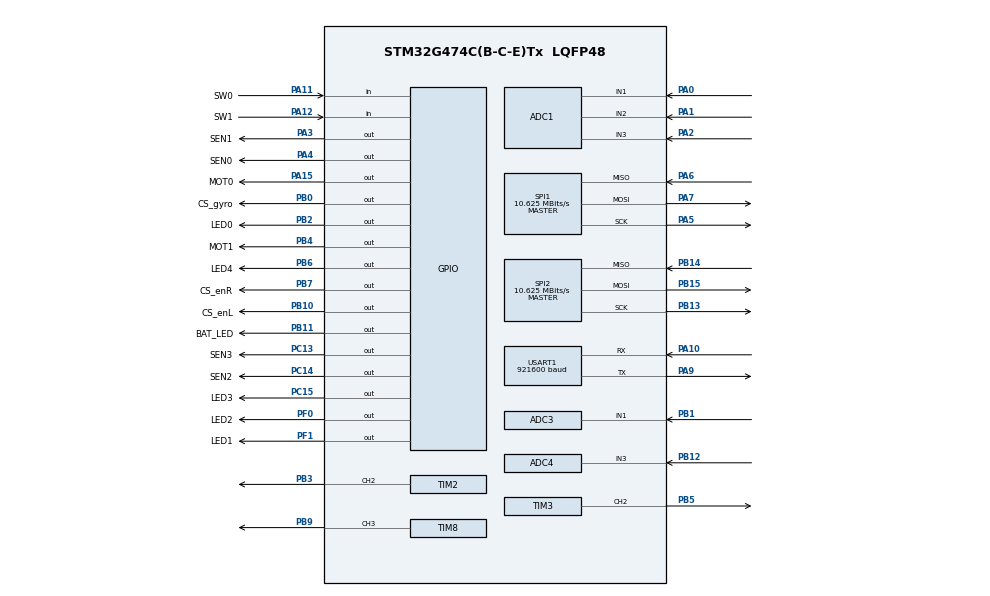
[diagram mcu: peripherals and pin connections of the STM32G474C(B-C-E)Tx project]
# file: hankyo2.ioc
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ADC1.Channel-15\#ChannelRegularConversion=ADC_CHANNEL_2
ADC1.Channel-16\#ChannelRegularConversion=ADC_CHANNEL_2
ADC1.Channel-17\#ChannelRegularConversion=ADC_CHANNEL_3
ADC1.Channel-18\#ChannelRegularConversion=ADC_CHANNEL_3
ADC1.Channel-19\#ChannelRegularConversion=ADC_CHANNEL_1
ADC1.Channel-20\#ChannelRegularConversion=ADC_CHANNEL_1
ADC1.ClockPrescaler=ADC_CLOCK_ASYNC_DIV8
ADC1.DiscontinuousConvMode=ENABLE
ADC1.NbrOfConversion=6
ADC1.NbrOfConversionFlag=1
ADC1.OffsetNumber-15\#ChannelRegularConversion=ADC_OFFSET_NONE
ADC1.OffsetNumber-16\#ChannelRegularConversion=ADC_OFFSET_NONE
ADC1.OffsetNumber-17\#ChannelRegularConversion=ADC_OFFSET_NONE
ADC1.OffsetNumber-18\#ChannelRegularConversion=ADC_OFFSET_NONE
ADC1.OffsetNumber-19\#ChannelRegularConversion=ADC_OFFSET_NONE
ADC1.OffsetNumber-20\#ChannelRegularConversion=ADC_OFFSET_NONE
ADC1.OversamplingMode=DISABLE
ADC1.Rank-15\#ChannelRegularConversion=1
ADC1.Rank-16\#ChannelRegularConversion=2
ADC1.Rank-17\#ChannelRegularConversion=3
ADC1.Rank-18\#ChannelRegularConversion=4
ADC1.Rank-19\#ChannelRegularConversion=5
ADC1.Rank-20\#ChannelRegularConversion=6
ADC1.SamplingTime-15\#ChannelRegularConversion=ADC_SAMPLETIME_12CYCLES_5
ADC1.SamplingTime-16\#ChannelRegularConversion=ADC_SAMPLETIME_12CYCLES_5
ADC1.SamplingTime-17\#ChannelRegularConversion=ADC_SAMPLETIME_12CYCLES_5
ADC1.SamplingTime-18\#ChannelRegularConversion=ADC_SAMPLETIME_12CYCLES_5
ADC1.SamplingTime-19\#ChannelRegularConversion=ADC_SAMPLETIME_12CYCLES_5
ADC1.SamplingTime-20\#ChannelRegularConversion=ADC_SAMPLETIME_12CYCLES_5
ADC1.master=1
ADC3.Channel-0\#ChannelRegularConversion=ADC_CHANNEL_1
ADC3.Channel-3\#ChannelRegularConversion=ADC_CHANNEL_1
ADC3.ClockPrescaler=ADC_CLOCK_ASYNC_DIV8
ADC3.DiscontinuousConvMode=ENABLE
ADC3.NbrOfConversion=2
ADC3.NbrOfConversionFlag=1
ADC3.OffsetNumber-0\#ChannelRegularConversion=ADC_OFFSET_NONE
ADC3.OffsetNumber-3\#ChannelRegularConversion=ADC_OFFSET_NONE
ADC3.Rank-0\#ChannelRegularConversion=1
ADC3.Rank-3\#ChannelRegularConversion=2
ADC3.SamplingTime-0\#ChannelRegularConversion=ADC_SAMPLETIME_12CYCLES_5
ADC3.SamplingTime-3\#ChannelRegularConversion=ADC_SAMPLETIME_12CYCLES_5
ADC3.master=1
ADC4.Channel-0\#ChannelRegularConversion=ADC_CHANNEL_3
ADC4.ClockPrescaler=ADC_CLOCK_ASYNC_DIV8
ADC4.DMAContinuousRequests=DISABLE
ADC4.ExternalTrigConv=ADC_SOFTWARE_START
ADC4.NbrOfConversionFlag=1
ADC4.OffsetNumber-0\#ChannelRegularConversion=ADC_OFFSET_NONE
ADC4.Rank-0\#ChannelRegularConversion=1
ADC4.SamplingTime-0\#ChannelRegularConversion=ADC_SAMPLETIME_24CYCLES_5
Dma.Request0=SPI1_RX
Dma.Request1=SPI1_TX
Dma.Request2=SPI2_RX
Dma.Request3=SPI2_TX
Dma.Request4=USART1_RX
Dma.Request5=USART1_TX
Dma.SPI1_RX.0.Direction=DMA_PERIPH_TO_MEMORY
Dma.SPI1_RX.0.EventEnable=DISABLE
Dma.SPI1_RX.0.Instance=DMA1_Channel1
Dma.SPI1_RX.0.MemDataAlignment=DMA_MDATAALIGN_BYTE
Dma.SPI1_RX.0.MemInc=DMA_MINC_ENABLE
Dma.SPI1_RX.0.Mode=DMA_NORMAL
Dma.SPI1_RX.0.PeriphDataAlignment=DMA_PDATAALIGN_BYTE
Dma.SPI1_RX.0.PeriphInc=DMA_PINC_DISABLE
Dma.SPI1_RX.0.Polarity=HAL_DMAMUX_REQ_GEN_RISING
Dma.SPI1_RX.0.Priority=DMA_PRIORITY_LOW
Dma.SPI1_RX.0.RequestNumber=1
Dma.SPI1_RX.0.SignalID=NONE
Dma.SPI1_RX.0.SyncEnable=DISABLE
Dma.SPI1_RX.0.SyncPolarity=HAL_DMAMUX_SYNC_NO_EVENT
Dma.SPI1_RX.0.SyncRequestNumber=1
Dma.SPI1_RX.0.SyncSignalID=NONE
Dma.SPI1_TX.1.Direction=DMA_MEMORY_TO_PERIPH
Dma.SPI1_TX.1.EventEnable=DISABLE
Dma.SPI1_TX.1.Instance=DMA1_Channel2
Dma.SPI1_TX.1.MemDataAlignment=DMA_MDATAALIGN_BYTE
Dma.SPI1_TX.1.MemInc=DMA_MINC_ENABLE
Dma.SPI1_TX.1.Mode=DMA_NORMAL
Dma.SPI1_TX.1.PeriphDataAlignment=DMA_PDATAALIGN_BYTE
Dma.SPI1_TX.1.PeriphInc=DMA_PINC_DISABLE
Dma.SPI1_TX.1.Polarity=HAL_DMAMUX_REQ_GEN_RISING
Dma.SPI1_TX.1.Priority=DMA_PRIORITY_LOW
Dma.SPI1_TX.1.RequestNumber=1
Dma.SPI1_TX.1.SignalID=NONE
Dma.SPI1_TX.1.SyncEnable=DISABLE
Dma.SPI1_TX.1.SyncPolarity=HAL_DMAMUX_SYNC_NO_EVENT
Dma.SPI1_TX.1.SyncRequestNumber=1
Dma.SPI1_TX.1.SyncSignalID=NONE
Dma.SPI2_RX.2.Direction=DMA_PERIPH_TO_MEMORY
Dma.SPI2_RX.2.EventEnable=DISABLE
Dma.SPI2_RX.2.Instance=DMA1_Channel3
Dma.SPI2_RX.2.MemDataAlignment=DMA_MDATAALIGN_BYTE
Dma.SPI2_RX.2.MemInc=DMA_MINC_ENABLE
Dma.SPI2_RX.2.Mode=DMA_NORMAL
Dma.SPI2_RX.2.PeriphDataAlignment=DMA_PDATAALIGN_BYTE
Dma.SPI2_RX.2.PeriphInc=DMA_PINC_DISABLE
Dma.SPI2_RX.2.Polarity=HAL_DMAMUX_REQ_GEN_RISING
Dma.SPI2_RX.2.Priority=DMA_PRIORITY_LOW
Dma.SPI2_RX.2.RequestNumber=1
Dma.SPI2_RX.2.SignalID=NONE
Dma.SPI2_RX.2.SyncEnable=DISABLE
Dma.SPI2_RX.2.SyncPolarity=HAL_DMAMUX_SYNC_NO_EVENT
Dma.SPI2_RX.2.SyncRequestNumber=1
Dma.SPI2_RX.2.SyncSignalID=NONE
Dma.SPI2_TX.3.Direction=DMA_MEMORY_TO_PERIPH
Dma.SPI2_TX.3.EventEnable=DISABLE
Dma.SPI2_TX.3.Instance=DMA1_Channel4
Dma.SPI2_TX.3.MemDataAlignment=DMA_MDATAALIGN_BYTE
Dma.SPI2_TX.3.MemInc=DMA_MINC_ENABLE
Dma.SPI2_TX.3.Mode=DMA_NORMAL
Dma.SPI2_TX.3.PeriphDataAlignment=DMA_PDATAALIGN_BYTE
Dma.SPI2_TX.3.PeriphInc=DMA_PINC_DISABLE
Dma.SPI2_TX.3.Polarity=HAL_DMAMUX_REQ_GEN_RISING
Dma.SPI2_TX.3.Priority=DMA_PRIORITY_LOW
Dma.SPI2_TX.3.RequestNumber=1
Dma.SPI2_TX.3.SignalID=NONE
Dma.SPI2_TX.3.SyncEnable=DISABLE
Dma.SPI2_TX.3.SyncPolarity=HAL_DMAMUX_SYNC_NO_EVENT
Dma.SPI2_TX.3.SyncRequestNumber=1
Dma.SPI2_TX.3.SyncSignalID=NONE
Dma.USART1_RX.4.Direction=DMA_PERIPH_TO_MEMORY
Dma.USART1_RX.4.EventEnable=DISABLE
Dma.USART1_RX.4.Instance=DMA1_Channel5
Dma.USART1_RX.4.MemDataAlignment=DMA_MDATAALIGN_BYTE
Dma.USART1_RX.4.MemInc=DMA_MINC_ENABLE
Dma.USART1_RX.4.Mode=DMA_NORMAL
Dma.USART1_RX.4.PeriphDataAlignment=DMA_PDATAALIGN_BYTE
Dma.USART1_RX.4.PeriphInc=DMA_PINC_DISABLE
Dma.USART1_RX.4.Polarity=HAL_DMAMUX_REQ_GEN_RISING
Dma.USART1_RX.4.Priority=DMA_PRIORITY_LOW
Dma.USART1_RX.4.RequestNumber=1
Dma.USART1_RX.4.SignalID=NONE
Dma.USART1_RX.4.SyncEnable=DISABLE
Dma.USART1_RX.4.SyncPolarity=HAL_DMAMUX_SYNC_NO_EVENT
Dma.USART1_RX.4.SyncRequestNumber=1
Dma.USART1_RX.4.SyncSignalID=NONE
Dma.USART1_TX.5.Direction=DMA_MEMORY_TO_PERIPH
Dma.USART1_TX.5.EventEnable=DISABLE
Dma.USART1_TX.5.Instance=DMA1_Channel6
Dma.USART1_TX.5.MemDataAlignment=DMA_MDATAALIGN_BYTE
Dma.USART1_TX.5.MemInc=DMA_MINC_ENABLE
Dma.USART1_TX.5.Mode=DMA_NORMAL
Dma.USART1_TX.5.PeriphDataAlignment=DMA_PDATAALIGN_BYTE
Dma.USART1_TX.5.PeriphInc=DMA_PINC_DISABLE
Dma.USART1_TX.5.Polarity=HAL_DMAMUX_REQ_GEN_RISING
Dma.USART1_TX.5.Priority=DMA_PRIORITY_LOW
Dma.USART1_TX.5.RequestNumber=1
Dma.USART1_TX.5.SignalID=NONE
Dma.USART1_TX.5.SyncEnable=DISABLE
Dma.USART1_TX.5.SyncPolarity=HAL_DMAMUX_SYNC_NO_EVENT
Dma.USART1_TX.5.SyncRequestNumber=1
Dma.USART1_TX.5.SyncSignalID=NONE
Mcu.Family=STM32G4
Mcu.Name=STM32G474C(B-C-E)Tx
Mcu.Package=LQFP48
NVIC.DMA1_Channel1_IRQn=true\:0\:0\:false\:false\:true\:false\:true\:true
NVIC.DMA1_Channel2_IRQn=true\:0\:0\:false\:false\:true\:false\:true\:true
NVIC.DMA1_Channel3_IRQn=true\:0\:0\:false\:false\:true\:false\:true\:true
NVIC.DMA1_Channel4_IRQn=true\:0\:0\:false\:false\:true\:false\:true\:true
NVIC.DMA1_Channel5_IRQn=true\:0\:0\:false\:false\:true\:false\:true\:true
NVIC.DMA1_Channel6_IRQn=true\:0\:0\:false\:false\:true\:false\:true\:true
NVIC.PriorityGroup=NVIC_PRIORITYGROUP_4
NVIC.TIM1_UP_TIM16_IRQn=true\:0\:0\:false\:false\:true\:true\:true\:true
NVIC.TIM4_IRQn=true\:0\:0\:false\:false\:true\:true\:true\:true
NVIC.TIM5_IRQn=true\:0\:0\:false\:false\:true\:true\:true\:true
NVIC.TIM6_DAC_IRQn=true\:0\:0\:false\:false\:true\:true\:true\:true
PA0.Mode=IN1-Single-Ended
PA0.Signal=ADC1_IN1
PA1.Mode=IN2-Single-Ended
PA1.Signal=ADC1_IN2
PA10.Mode=Asynchronous
PA10.Signal=USART1_RX
PA11.GPIO_Label=SW0
PA11.GPIO_PuPd=GPIO_PULLDOWN
PA11.Signal=GPIO_Input
PA12.GPIO_Label=SW1
PA12.GPIO_PuPd=GPIO_PULLDOWN
PA12.Signal=GPIO_Input
PA13.Mode=Serial_Wire
PA13.Signal=SYS_JTMS-SWDIO
PA14.Mode=Serial_Wire
PA14.Signal=SYS_JTCK-SWCLK
PA15.GPIO_Label=MOT0
PA15.Signal=GPIO_Output
PA2.Mode=IN3-Single-Ended
PA2.Signal=ADC1_IN3
PA3.GPIO_Label=SEN1
PA3.Signal=GPIO_Output
PA4.GPIO_Label=SEN0
PA4.Signal=GPIO_Output
PA5.Mode=Full_Duplex_Master
PA5.Signal=SPI1_SCK
PA6.Mode=Full_Duplex_Master
PA6.Signal=SPI1_MISO
PA7.Mode=Full_Duplex_Master
PA7.Signal=SPI1_MOSI
PA9.Mode=Asynchronous
PA9.Signal=USART1_TX
PB0.GPIO_Label=CS_gyro
PB0.PinState=GPIO_PIN_SET
PB0.Signal=GPIO_Output
PB1.Mode=IN1-Single-Ended
PB1.Signal=ADC3_IN1
PB10.GPIO_Label=CS_enL
PB10.PinState=GPIO_PIN_SET
PB10.Signal=GPIO_Output
PB11.GPIO_Label=BAT_LED
PB11.Signal=GPIO_Output
PB12.Mode=IN3-Single-Ended
PB12.Signal=ADC4_IN3
PB13.Mode=Full_Duplex_Master
PB13.Signal=SPI2_SCK
PB14.Mode=Full_Duplex_Master
PB14.Signal=SPI2_MISO
PB15.Mode=Full_Duplex_Master
PB15.Signal=SPI2_MOSI
PB2.GPIO_Label=LED0
PB2.Signal=GPIO_Output
PB3.Signal=S_TIM2_CH2
PB4.GPIO_Label=MOT1
PB4.Signal=GPIO_Output
PB5.Signal=S_TIM3_CH2
PB6.GPIO_Label=LED4
PB6.Signal=GPIO_Output
PB7.GPIO_Label=CS_enR
PB7.PinState=GPIO_PIN_SET
PB7.Signal=GPIO_Output
PB9.Signal=S_TIM8_CH3
PC13.GPIO_Label=SEN3
PC13.Signal=GPIO_Output
PC14-OSC32_IN.GPIO_Label=SEN2
PC14-OSC32_IN.Signal=GPIO_Output
PC15-OSC32_OUT.GPIO_Label=LED3
PC15-OSC32_OUT.Signal=GPIO_Output
PF0-OSC_IN.GPIO_Label=LED2
PF0-OSC_IN.Signal=GPIO_Output
PF1-OSC_OUT.GPIO_Label=LED1
PF1-OSC_OUT.Signal=GPIO_Output
ProjectManager.HeapSize=0x200
ProjectManager.StackSize=0x400
ProjectManager.TargetToolchain=STM32CubeIDE
RCC.ADC12CLockSelection=RCC_ADC12CLKSOURCE_PLL
RCC.ADC12Freq_Value=85000000
RCC.ADC345CLockSelection=RCC_ADC345CLKSOURCE_PLL
RCC.ADC345Freq_Value=85000000
RCC.AHBFreq_Value=170000000
RCC.APB1Freq_Value=170000000
RCC.APB1TimFreq_Value=170000000
RCC.APB2Freq_Value=170000000
RCC.APB2TimFreq_Value=170000000
RCC.CortexFreq_Value=170000000
RCC.EXTERNAL_CLOCK_VALUE=12288000
RCC.HCLKFreq_Value=170000000
RCC.HSE_VALUE=8000000
RCC.HSI48_VALUE=48000000
RCC.HSI_VALUE=16000000
RCC.LSE_VALUE=32768
RCC.PLLM=RCC_PLLM_DIV4
RCC.PLLN=85
RCC.PLLP=RCC_PLLP_DIV4
RCC.SYSCLKFreq_VALUE=170000000
RCC.SYSCLKSource=RCC_SYSCLKSOURCE_PLLCLK
RCC.USBFreq_Value=170000000
RCC.VCOOutputFreq_Value=340000000
SH.S_TIM2_CH2.0=TIM2_CH2,PWM Generation2 CH2
SH.S_TIM3_CH2.0=TIM3_CH2,PWM Generation2 CH2
SH.S_TIM8_CH3.0=TIM8_CH3,PWM Generation3 CH3
SPI1.BaudRatePrescaler=SPI_BAUDRATEPRESCALER_16
SPI1.CLKPhase=SPI_PHASE_2EDGE
SPI1.CLKPolarity=SPI_POLARITY_HIGH
SPI1.CalculateBaudRate=10.625 MBits/s
SPI1.DataSize=SPI_DATASIZE_8BIT
SPI1.Direction=SPI_DIRECTION_2LINES
SPI1.Mode=SPI_MODE_MASTER
SPI1.VirtualType=VM_MASTER
SPI2.BaudRatePrescaler=SPI_BAUDRATEPRESCALER_16
SPI2.CLKPhase=SPI_PHASE_2EDGE
SPI2.CLKPolarity=SPI_POLARITY_HIGH
SPI2.CalculateBaudRate=10.625 MBits/s
SPI2.DataSize=SPI_DATASIZE_8BIT
SPI2.Direction=SPI_DIRECTION_2LINES
SPI2.Mode=SPI_MODE_MASTER
SPI2.VirtualType=VM_MASTER
TIM1.PeriodNoDither=999
TIM1.Prescaler=169
TIM2.AutoReloadPreload=TIM_AUTORELOAD_PRELOAD_ENABLE
TIM2.Channel-PWM\ Generation2\ CH2=TIM_CHANNEL_2
TIM2.PeriodNoDither=849
TIM2.Prescaler=1
TIM3.AutoReloadPreload=TIM_AUTORELOAD_PRELOAD_ENABLE
TIM3.Channel-PWM\ Generation2\ CH2=TIM_CHANNEL_2
TIM3.PeriodNoDither=849
TIM3.Prescaler=1
TIM4.PeriodNoDither=249
TIM4.Prescaler=169
TIM5.PeriodNoDither=249
TIM5.Prescaler=169
TIM6.PeriodNoDither=9999
TIM6.Prescaler=169
TIM8.Channel-PWM\ Generation3\ CH3=TIM_CHANNEL_3
TIM8.PeriodNoDither=849
TIM8.Prescaler=1
USART1.BaudRate=921600
USART1.VirtualMode-Asynchronous=VM_ASYNC
VP_SYS_VS_DBSignals.Mode=DisableDeadBatterySignals
VP_TIM1_VS_ClockSourceINT.Mode=Internal
VP_TIM4_VS_ClockSourceINT.Mode=Internal
VP_TIM5_VS_ClockSourceINT.Mode=Internal
VP_TIM6_VS_ClockSourceINT.Mode=Enable_Timer
board=custom

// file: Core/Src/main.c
/* USER CODE BEGIN Header */
/**
  ******************************************************************************
  * @file           : main.c
  * @brief          : Main program body
  ******************************************************************************
  * @attention
  *
  * <h2><center>&copy; Copyright (c) 2021 STMicroelectronics.
  * All rights reserved.</center></h2>
  *
  * This software component is licensed by ST under BSD 3-Clause license,
  * the "License"; You may not use this file except in compliance with the
  * License. You may obtain a copy of the License at:
  *                        opensource.org/licenses/BSD-3-Clause
  *
  ******************************************************************************
  */
/* USER CODE END Header */
#include "main.h"
#include "adc.h"
#include "dma.h"
#include "spi.h"
#include "tim.h"
#include "usart.h"
#include "gpio.h"

/* USER CODE BEGIN Includes */
#define ARM_MATH_CM4
#include "hal/sen_batt.h"
#include "hal/gyro.h"
#include "hal/sen_dist.h"
#include "hal/encoder.h"

/* USER CODE END Includes */

void SystemClock_Config(void);

/* USER CODE BEGIN 0 */
void __io_putchar(uint8_t ch){
	USART_TransmitByte(ch);
}

/* USER CODE END 0 */

int main(void)
{

  /* MCU Configuration--------------------------------------------------------*/

  /* Reset of all peripherals, Initializes the Flash interface and the Systick. */
  LL_APB2_GRP1_EnableClock(LL_APB2_GRP1_PERIPH_SYSCFG);
  LL_APB1_GRP1_EnableClock(LL_APB1_GRP1_PERIPH_PWR);

  /* System interrupt init*/
  NVIC_SetPriorityGrouping(NVIC_PRIORITYGROUP_4);

  /** Disable the internal Pull-Up in Dead Battery pins of UCPD peripheral
  */
  LL_PWR_DisableUCPDDeadBattery();

  /* Configure the system clock */
  SystemClock_Config();

  /* Initialize all configured peripherals */
  MX_GPIO_Init();
  MX_DMA_Init();
  MX_USART1_UART_Init();
  MX_SPI2_Init();
  MX_ADC1_Init();
  MX_ADC3_Init();
  MX_SPI1_Init();
  MX_ADC4_Init();
  MX_TIM2_Init();
  MX_TIM3_Init();
  MX_TIM1_Init();
  MX_TIM4_Init();
  MX_TIM5_Init();
  MX_TIM6_Init();
  MX_TIM8_Init();
  /* USER CODE BEGIN 2 */
  SetLED(0x0E);
  LL_mDelay(200);
  SetLED(0x00);
  LL_mDelay(200);
  SetLED(0x0E);
  LL_mDelay(200);
  SetLED(0x00);

  Communication_Initialize();
  HAL_init();
  CTRL_clrNowData();
  /* USER CODE END 2 */

  /* Infinite loop */
  /* USER CODE BEGIN WHILE */
  while (1)
  {
    if (( SW_IsOn_1() == SW_ON)||CountUP_mode()){
		MODE_inc();								// モードを1つ進める
		LL_mDelay(200);			// SWが離されるまで�?つ
		printf("mode selecting\r\n");
	}
	else if (( SW_IsOn_0() == SW_ON )||(TRUE == MODE_CheckExe())){
//		else if ( SW_ON == SW_EXE_PIN ){
		MODE_exe();								// モード実�?
		LL_mDelay(200);			// SWが離されるまで�?つ
	}
    LL_mDelay(100);
  Get_Sen_Nowdata();
//  printf("batt %5.2f \r",get_battLv());
//  printf("s_val%x\n\r",Get_s_gyro());

    //encoder count
    /* USER CODE END WHILE */

  }
}

void SystemClock_Config(void)
{
  LL_FLASH_SetLatency(LL_FLASH_LATENCY_4);
  while(LL_FLASH_GetLatency() != LL_FLASH_LATENCY_4)
  {
  }
  LL_PWR_EnableRange1BoostMode();
  LL_RCC_HSI_Enable();
   /* Wait till HSI is ready */
  while(LL_RCC_HSI_IsReady() != 1)
  {
  }

  LL_RCC_HSI_SetCalibTrimming(64);
  LL_RCC_PLL_ConfigDomain_SYS(LL_RCC_PLLSOURCE_HSI, LL_RCC_PLLM_DIV_4, 85, LL_RCC_PLLR_DIV_2);
  LL_RCC_PLL_ConfigDomain_ADC(LL_RCC_PLLSOURCE_HSI, LL_RCC_PLLM_DIV_4, 85, LL_RCC_PLLP_DIV_4);
  LL_RCC_PLL_EnableDomain_SYS();
  LL_RCC_PLL_EnableDomain_ADC();
  LL_RCC_PLL_Enable();
   /* Wait till PLL is ready */
  while(LL_RCC_PLL_IsReady() != 1)
  {
  }

  LL_RCC_SetSysClkSource(LL_RCC_SYS_CLKSOURCE_PLL);
  LL_RCC_SetAHBPrescaler(LL_RCC_SYSCLK_DIV_2);
   /* Wait till System clock is ready */
  while(LL_RCC_GetSysClkSource() != LL_RCC_SYS_CLKSOURCE_STATUS_PLL)
  {
  }

  /* Insure 1us transition state at intermediate medium speed clock*/
  for (__IO uint32_t i = (170 >> 1); i !=0; i--);

  /* Set AHB prescaler*/
  LL_RCC_SetAHBPrescaler(LL_RCC_SYSCLK_DIV_1);
  LL_RCC_SetAPB1Prescaler(LL_RCC_APB1_DIV_1);
  LL_RCC_SetAPB2Prescaler(LL_RCC_APB2_DIV_1);

  LL_Init1msTick(170000000);

  LL_SetSystemCoreClock(170000000);
}

void Error_Handler(void)
{
}
